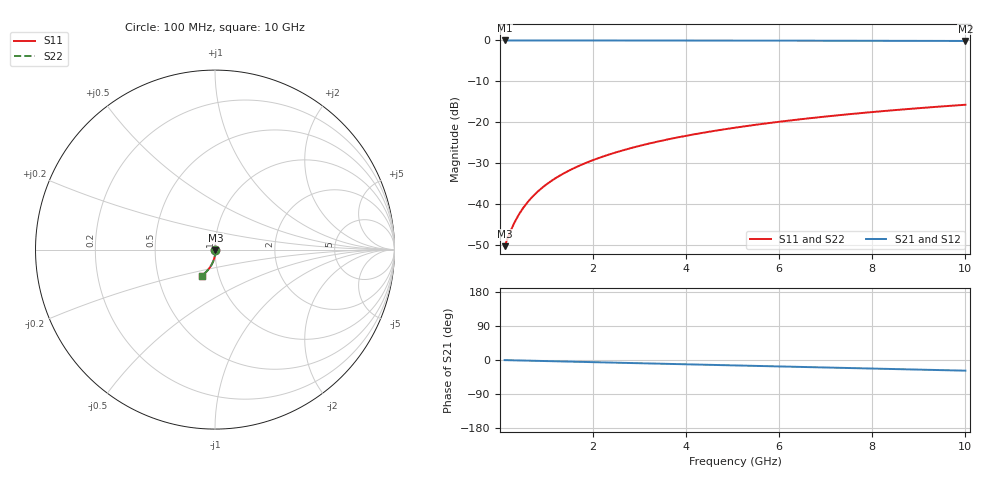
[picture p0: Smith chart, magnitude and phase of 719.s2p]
# Hz S RI R 50.00
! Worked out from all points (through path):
!   100 points, 100 MHz to 10 GHz, reference 50 ohm
!   highest |S21| = -0.02 dB at 100 MHz (marker M1); lowest = -0.1 dB at 10 GHz (marker M2)
!   group delay of S21, straight-line fit = 7.82 ps
!   lowest |S11| = -50.4 dB at 100 MHz (marker M3), VSWR 1.01, Z = 50.2 - j0.173 ohm
!   |S11| at or under -10 dB: start of sweep to end of sweep
!   |S22| runs from -50.4 to -15.8 dB; largest |S21 - S12| = 0
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1e8  0.00249 -0.00172  0.9975 -0.00494  0.9975 -0.00494  0.00249 -0.00172
2e8  0.00247 -0.00344  0.9974 -0.00988  0.9974 -0.00988  0.00247 -0.00344
3e8  0.00244 -0.00516  0.9973 -0.0148  0.9973 -0.0148  0.00244 -0.00516
4e8  0.00239 -0.00688  0.9972 -0.0197  0.9972 -0.0197  0.00239 -0.00688
5e8  0.00232 -0.0086  0.9971 -0.0247  0.9971 -0.0247  0.00232 -0.0086
6e8  0.00223 -0.0103  0.9969 -0.0296  0.9969 -0.0296  0.00223 -0.0103
7e8  0.00212 -0.012  0.9967 -0.0346  0.9967 -0.0346  0.00212 -0.012
9e8  0.00186 -0.0155  0.9963 -0.0444  0.9963 -0.0444  0.00186 -0.0155
1e9  0.0017 -0.0172  0.996 -0.0493  0.996 -0.0493  0.0017 -0.0172
1.2e9  0.00133 -0.0206  0.9954 -0.0592  0.9954 -0.0592  0.00133 -0.0206
1.5e9  0.00065 -0.0257  0.9943 -0.074  0.9943 -0.074  0.00065 -0.0257
1.8e9  -0.000183 -0.0308  0.9929 -0.0887  0.9929 -0.0887  -0.000183 -0.0308
2.1e9  -0.00117 -0.0359  0.9913 -0.1034  0.9913 -0.1034  -0.00117 -0.0359
2.5e9  -0.00271 -0.0426  0.9887 -0.1229  0.9887 -0.1229  -0.00271 -0.0426
2.9e9  -0.00452 -0.0492  0.9858 -0.1424  0.9858 -0.1424  -0.00452 -0.0492
3.4e9  -0.00714 -0.0574  0.9815 -0.1666  0.9815 -0.1666  -0.00714 -0.0574
4.2e9  -0.0122 -0.0702  0.9732 -0.205  0.9732 -0.205  -0.0122 -0.0702
5.1e9  -0.019 -0.084  0.962 -0.2476  0.962 -0.2476  -0.019 -0.084
5.9e9  -0.026 -0.0957  0.9503 -0.2849  0.9503 -0.2849  -0.026 -0.0957
6.7e9  -0.0339 -0.1068  0.937 -0.3215  0.937 -0.3215  -0.0339 -0.1068
8.4e9  -0.0534 -0.128  0.9039 -0.3966  0.9039 -0.3966  -0.0534 -0.128
1e10  -0.0745 -0.1448  0.8671 -0.4637  0.8671 -0.4637  -0.0745 -0.1448
